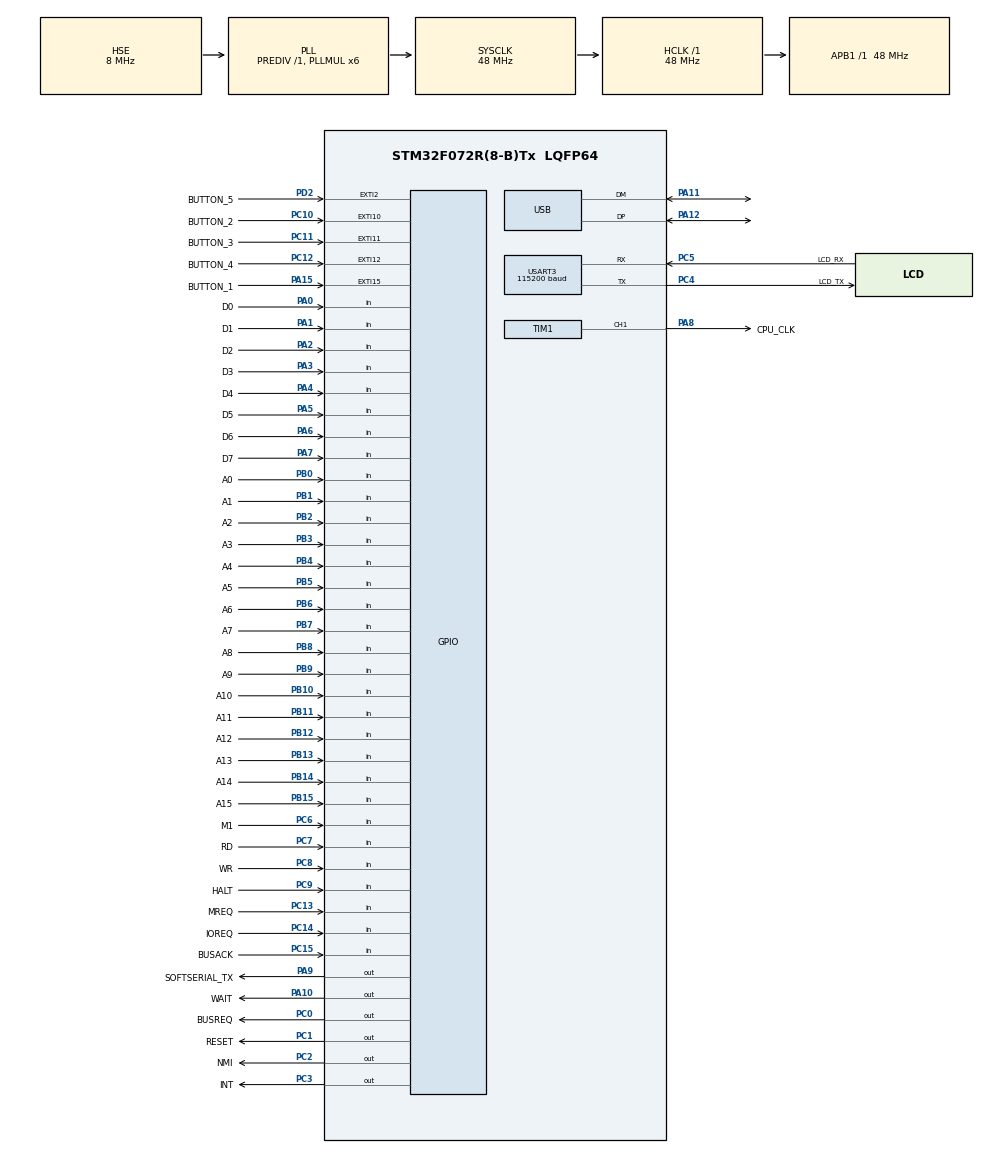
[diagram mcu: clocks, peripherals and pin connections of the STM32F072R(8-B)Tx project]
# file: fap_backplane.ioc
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Mcu.Family=STM32F0
Mcu.Name=STM32F072R(8-B)Tx
Mcu.Package=LQFP64
NVIC.EXTI2_3_IRQn=true\:0\:0\:false\:false\:true
NVIC.EXTI4_15_IRQn=true\:0\:0\:false\:false\:true
NVIC.USB_IRQn=true\:0\:0\:false\:false\:true
PA0.GPIO_Label=D0
PA0.Signal=GPIO_Input
PA1.GPIO_Label=D1
PA1.Signal=GPIO_Input
PA10.GPIO_Label=WAIT
PA10.GPIO_ModeDefaultOutputPP=GPIO_MODE_OUTPUT_OD
PA10.PinState=GPIO_PIN_SET
PA10.Signal=GPIO_Output
PA11.Mode=Device
PA11.Signal=USB_DM
PA12.Mode=Device
PA12.Signal=USB_DP
PA13.Mode=Serial_Wire
PA13.Signal=SYS_SWDIO
PA14.Mode=Serial_Wire
PA14.Signal=SYS_SWCLK
PA15.GPIO_Label=BUTTON_1
PA15.GPIO_ModeDefaultEXTI=GPIO_MODE_IT_FALLING
PA15.GPIO_PuPd=GPIO_PULLUP
PA15.Signal=GPXTI15
PA2.GPIO_Label=D2
PA2.Signal=GPIO_Input
PA3.GPIO_Label=D3
PA3.Signal=GPIO_Input
PA4.GPIO_Label=D4
PA4.Signal=GPIO_Input
PA5.GPIO_Label=D5
PA5.Signal=GPIO_Input
PA6.GPIO_Label=D6
PA6.Signal=GPIO_Input
PA7.GPIO_Label=D7
PA7.Signal=GPIO_Input
PA8.GPIO_Label=CPU_CLK
PA8.Signal=S_TIM1_CH1
PA9.GPIO_Label=SOFTSERIAL_TX
PA9.PinState=GPIO_PIN_SET
PA9.Signal=GPIO_Output
PB0.GPIO_Label=A0
PB0.Signal=GPIO_Input
PB1.GPIO_Label=A1
PB1.Signal=GPIO_Input
PB10.GPIO_Label=A10
PB10.Signal=GPIO_Input
PB11.GPIO_Label=A11
PB11.Signal=GPIO_Input
PB12.GPIO_Label=A12
PB12.Signal=GPIO_Input
PB13.GPIO_Label=A13
PB13.Signal=GPIO_Input
PB14.GPIO_Label=A14
PB14.Signal=GPIO_Input
PB15.GPIO_Label=A15
PB15.Signal=GPIO_Input
PB2.GPIO_Label=A2
PB2.Signal=GPIO_Input
PB3.GPIO_Label=A3
PB3.Signal=GPIO_Input
PB4.GPIO_Label=A4
PB4.Signal=GPIO_Input
PB5.GPIO_Label=A5
PB5.Signal=GPIO_Input
PB6.GPIO_Label=A6
PB6.Signal=GPIO_Input
PB7.GPIO_Label=A7
PB7.Signal=GPIO_Input
PB8.GPIO_Label=A8
PB8.Signal=GPIO_Input
PB9.GPIO_Label=A9
PB9.Signal=GPIO_Input
PC0.GPIO_Label=BUSREQ
PC0.GPIO_ModeDefaultOutputPP=GPIO_MODE_OUTPUT_OD
PC0.PinState=GPIO_PIN_SET
PC0.Signal=GPIO_Output
PC1.GPIO_Label=RESET
PC1.GPIO_ModeDefaultOutputPP=GPIO_MODE_OUTPUT_OD
PC1.PinState=GPIO_PIN_SET
PC1.Signal=GPIO_Output
PC10.GPIO_Label=BUTTON_2
PC10.GPIO_ModeDefaultEXTI=GPIO_MODE_IT_FALLING
PC10.GPIO_PuPd=GPIO_PULLUP
PC10.Signal=GPXTI10
PC11.GPIO_Label=BUTTON_3
PC11.GPIO_ModeDefaultEXTI=GPIO_MODE_IT_FALLING
PC11.GPIO_PuPd=GPIO_PULLUP
PC11.Signal=GPXTI11
PC12.GPIO_Label=BUTTON_4
PC12.GPIO_ModeDefaultEXTI=GPIO_MODE_IT_FALLING
PC12.GPIO_PuPd=GPIO_PULLUP
PC12.Signal=GPXTI12
PC13.GPIO_Label=MREQ
PC13.Signal=GPIO_Input
PC14-OSC32_IN.GPIO_Label=IOREQ
PC14-OSC32_IN.Signal=GPIO_Input
PC15-OSC32_OUT.GPIO_Label=BUSACK
PC15-OSC32_OUT.Signal=GPIO_Input
PC2.GPIO_Label=NMI
PC2.GPIO_ModeDefaultOutputPP=GPIO_MODE_OUTPUT_OD
PC2.PinState=GPIO_PIN_SET
PC2.Signal=GPIO_Output
PC3.GPIO_Label=INT
PC3.GPIO_ModeDefaultOutputPP=GPIO_MODE_OUTPUT_OD
PC3.PinState=GPIO_PIN_SET
PC3.Signal=GPIO_Output
PC4.GPIO_Label=LCD_TX
PC4.Mode=Asynchronous
PC4.Signal=USART3_TX
PC5.GPIO_Label=LCD_RX
PC5.Mode=Asynchronous
PC5.Signal=USART3_RX
PC6.GPIO_Label=M1
PC6.Signal=GPIO_Input
PC7.GPIO_Label=RD
PC7.Signal=GPIO_Input
PC8.GPIO_Label=WR
PC8.Signal=GPIO_Input
PC9.GPIO_Label=HALT
PC9.Signal=GPIO_Input
PD2.GPIO_Label=BUTTON_5
PD2.GPIO_ModeDefaultEXTI=GPIO_MODE_IT_FALLING
PD2.GPIO_PuPd=GPIO_PULLUP
PD2.Signal=GPXTI2
PF0-OSC_IN.Mode=HSE-External-Oscillator
PF0-OSC_IN.Signal=RCC_OSC_IN
PF1-OSC_OUT.Mode=HSE-External-Oscillator
PF1-OSC_OUT.Signal=RCC_OSC_OUT
ProjectManager.HeapSize=0x200
ProjectManager.StackSize=0x400
ProjectManager.TargetToolchain=MDK-ARM V5
RCC.AHBFreq_Value=48000000
RCC.APB1Freq_Value=48000000
RCC.APB1TimFreq_Value=48000000
RCC.HCLKFreq_Value=48000000
RCC.HSIState=RCC_HSI_ON
RCC.INSTRUCTION_CACHE_ENABLE=1
RCC.PLLMUL=RCC_PLL_MUL6
RCC.SYSCLKFreq_VALUE=48000000
RCC.SYSCLKSource=RCC_SYSCLKSOURCE_PLLCLK
RCC.USBClockSelection=RCC_USBCLKSOURCE_PLL
SH.S_TIM1_CH1.0=TIM1_CH1,PWM Generation1 CH1
TIM1.Period=5
TIM1.Prescaler=0
TIM1.Pulse-PWM\ Generation1\ CH1=3
TIM2.Period=4294967295
TIM2.Prescaler=48
USART3.BaudRate=115200
USART3.WordLength=UART_WORDLENGTH_8B
USB.ep0_mps=DEP0CTL_MPS_64
USB_DEVICE.CLASS_NAME_FS=CDC
USB_DEVICE.USBD_HandleTypeDef=hUsbDeviceFS
USB_DEVICE.VirtualMode=Cdc
USB_DEVICE.VirtualModeFS=Cdc_FS
VP_TIM1_VS_ClockSourceINT.Mode=Internal
VP_TIM2_VS_ClockSourceINT.Mode=Internal
VP_USB_DEVICE_VS_USB_DEVICE_CDC_FS.Mode=CDC_FS
board=fap_backplane

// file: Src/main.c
/**
  ******************************************************************************
  * File Name          : main.c
  * Description        : Main program body
  ******************************************************************************
  *
  * Copyright (c) 2016 STMicroelectronics International N.V.
  * All rights reserved.
  *
  * Redistribution and use in source and binary forms, with or without
  * modification, are permitted, provided that the following conditions are met:
  *
  * 1. Redistribution of source code must retain the above copyright notice,
  *    this list of conditions and the following disclaimer.
  * 2. Redistributions in binary form must reproduce the above copyright notice,
  *    this list of conditions and the following disclaimer in the documentation
  *    and/or other materials provided with the distribution.
  * 3. Neither the name of STMicroelectronics nor the names of other
  *    contributors to this software may be used to endorse or promote products
  *    derived from this software without specific written permission.
  * 4. This software, including modifications and/or derivative works of this
  *    software, must execute solely and exclusively on microcontroller or
  *    microprocessor devices manufactured by or for STMicroelectronics.
  * 5. Redistribution and use of this software other than as permitted under
  *    this license is void and will automatically terminate your rights under
  *    this license.
  *
  * THIS SOFTWARE IS PROVIDED BY STMICROELECTRONICS AND CONTRIBUTORS "AS IS"
  * AND ANY EXPRESS, IMPLIED OR STATUTORY WARRANTIES, INCLUDING, BUT NOT
  * LIMITED TO, THE IMPLIED WARRANTIES OF MERCHANTABILITY, FITNESS FOR A
  * PARTICULAR PURPOSE AND NON-INFRINGEMENT OF THIRD PARTY INTELLECTUAL PROPERTY
  * RIGHTS ARE DISCLAIMED TO THE FULLEST EXTENT PERMITTED BY LAW. IN NO EVENT
  * SHALL STMICROELECTRONICS OR CONTRIBUTORS BE LIABLE FOR ANY DIRECT, INDIRECT,
  * INCIDENTAL, SPECIAL, EXEMPLARY, OR CONSEQUENTIAL DAMAGES (INCLUDING, BUT NOT
  * LIMITED TO, PROCUREMENT OF SUBSTITUTE GOODS OR SERVICES; LOSS OF USE, DATA,
  * OR PROFITS; OR BUSINESS INTERRUPTION) HOWEVER CAUSED AND ON ANY THEORY OF
  * LIABILITY, WHETHER IN CONTRACT, STRICT LIABILITY, OR TORT (INCLUDING
  * NEGLIGENCE OR OTHERWISE) ARISING IN ANY WAY OUT OF THE USE OF THIS SOFTWARE,
  * EVEN IF ADVISED OF THE POSSIBILITY OF SUCH DAMAGE.
  *
  ******************************************************************************
  */
#include "main.h"
#include "stm32f0xx_hal.h"
#include "usb_device.h"

/* USER CODE BEGIN Includes */
#include "usbd_cdc_if.h"
#include "delay_us.h"
#include "softserial.h"
#include "hmi_lcd.h"
#include "cpu_ctrl.h"
#include "helpers.h"
#include "my_usb.h"
#include "shared.h"

/* USER CODE END Includes */

TIM_HandleTypeDef htim1;
TIM_HandleTypeDef htim2;

UART_HandleTypeDef huart3;

/* USER CODE BEGIN PV */
/* Private variables ---------------------------------------------------------*/
volatile uint32_t last_press = 0;
volatile int8_t is_button_1_pressed = 0;
volatile int8_t is_button_2_pressed = 0;
volatile int8_t is_button_3_pressed = 0;
volatile int8_t is_button_4_pressed = 0;
volatile int8_t is_button_5_pressed = 0;
uint16_t curr_addr = 0;
uint8_t curr_data = 0;
uint16_t prev_addr = 69;
uint8_t prev_data = 69;

uint8_t is_running = 0;
/* USER CODE END PV */

void SystemClock_Config(void);
void Error_Handler(void);
static void MX_GPIO_Init(void);
static void MX_TIM1_Init(void);
static void MX_USART3_UART_Init(void);
static void MX_TIM2_Init(void);
void HAL_TIM_MspPostInit(TIM_HandleTypeDef *htim);

/* USER CODE BEGIN PFP */
/* Private function prototypes -----------------------------------------------*/

/* USER CODE END PFP */

/* USER CODE BEGIN 0 */
int fputc(int ch, FILE *f)
{
  // softserial_sendchar(ch);
  my_usb_putchar((uint8_t)ch);
  return ch;
}
/* USER CODE END 0 */

int main(void)
{

  /* USER CODE BEGIN 1 */
  my_usb_init();
  /* USER CODE END 1 */

  /* MCU Configuration----------------------------------------------------------*/

  /* Reset of all peripherals, Initializes the Flash interface and the Systick. */
  HAL_Init();

  /* Configure the system clock */
  SystemClock_Config();

  /* Initialize all configured peripherals */
  MX_GPIO_Init();
  MX_TIM1_Init();
  MX_USB_DEVICE_Init();
  MX_USART3_UART_Init();
  MX_TIM2_Init();

  /* USER CODE BEGIN 2 */
  HAL_TIM_Base_Start(&htim2);
  delay_us_init(&htim2);
  softserial_init(SOFTSERIAL_TX_GPIO_Port, SOFTSERIAL_TX_Pin);
  hmi_lcd_init(&huart3);
  cpu_ctrl_init(&htim1);
  /* USER CODE END 2 */

  /* Infinite loop */
  /* USER CODE BEGIN WHILE */
  HAL_Delay(100);
  hsc_stop();
  cpu_reset();
  lcd_clear();
  addr_input();
  data_input();
  build_ui();
  HAL_Delay(100);

  while (1)
  {
  /* USER CODE END WHILE */

  /* USER CODE BEGIN 3 */
    if(is_running == 0)
      addr_data_display_update();

    // z80 reset button
    if(is_button_1_pressed)
    {
      hsc_stop();
      cpu_reset();
      lcd_print_width(130, 110, 180, 45, "CYAN", "RESET");
      is_button_1_pressed = 0;
      HAL_Delay(500);
      build_ui();
    }

    // clk step button
    if(is_button_3_pressed)
    {
      hsc_stop();
      cycle_clock(1);
      lcd_print_width(130, 110, 180, 45, "RED", "CLK STEP");
      is_button_3_pressed = 0;
      HAL_Delay(100);
      build_ui();
    }

    // ins step button
    if(is_button_4_pressed)
    {
      hsc_stop();
      lcd_print_width(130, 110, 180, 45, "GREEN", "INS STEP");
      // cycle clock until we're at next M1 cycle
      while(HAL_GPIO_ReadPin(CPU_CTRL_PORT, M1_Pin) == LOW)
        cycle_clock(1);
      while(HAL_GPIO_ReadPin(CPU_CTRL_PORT, M1_Pin) == HIGH)
        cycle_clock(1);
      is_button_4_pressed = 0;
      HAL_Delay(100);
      build_ui();
    }

    // run/stop button
    if(is_button_5_pressed)
    {
      is_running = (is_running + 1) % 2;
      if(is_running)
      {
        lcd_print_width(130, 110, 180, 45, "GREEN", "RUNNING");
        hsc_start();
      }
      else
      {
        hsc_stop();
        build_ui();
      }
      is_button_5_pressed = 0;
    }

    usb_data = my_usb_readline();
    if(usb_data != NULL && strstr(usb_data, "epm") != NULL)
    {
      hsc_stop();
      program_mode();
      build_ui();
    }
  }
  /* USER CODE END 3 */

}

/** System Clock Configuration
*/
void SystemClock_Config(void)
{

  RCC_OscInitTypeDef RCC_OscInitStruct;
  RCC_ClkInitTypeDef RCC_ClkInitStruct;
  RCC_PeriphCLKInitTypeDef PeriphClkInit;

    /**Initializes the CPU, AHB and APB busses clocks
    */
  RCC_OscInitStruct.OscillatorType = RCC_OSCILLATORTYPE_HSE;
  RCC_OscInitStruct.HSEState = RCC_HSE_ON;
  RCC_OscInitStruct.HSIState = RCC_HSI_ON;
  RCC_OscInitStruct.PLL.PLLState = RCC_PLL_ON;
  RCC_OscInitStruct.PLL.PLLSource = RCC_PLLSOURCE_HSE;
  RCC_OscInitStruct.PLL.PLLMUL = RCC_PLL_MUL6;
  RCC_OscInitStruct.PLL.PREDIV = RCC_PREDIV_DIV1;
  if (HAL_RCC_OscConfig(&RCC_OscInitStruct) != HAL_OK)
  {
    Error_Handler();
  }

    /**Initializes the CPU, AHB and APB busses clocks
    */
  RCC_ClkInitStruct.ClockType = RCC_CLOCKTYPE_HCLK|RCC_CLOCKTYPE_SYSCLK
                              |RCC_CLOCKTYPE_PCLK1;
  RCC_ClkInitStruct.SYSCLKSource = RCC_SYSCLKSOURCE_PLLCLK;
  RCC_ClkInitStruct.AHBCLKDivider = RCC_SYSCLK_DIV1;
  RCC_ClkInitStruct.APB1CLKDivider = RCC_HCLK_DIV1;

  if (HAL_RCC_ClockConfig(&RCC_ClkInitStruct, FLASH_LATENCY_1) != HAL_OK)
  {
    Error_Handler();
  }

  PeriphClkInit.PeriphClockSelection = RCC_PERIPHCLK_USB;
  PeriphClkInit.UsbClockSelection = RCC_USBCLKSOURCE_PLL;

  if (HAL_RCCEx_PeriphCLKConfig(&PeriphClkInit) != HAL_OK)
  {
    Error_Handler();
  }

    /**Configure the Systick interrupt time
    */
  HAL_SYSTICK_Config(HAL_RCC_GetHCLKFreq()/1000);

    /**Configure the Systick
    */
  HAL_SYSTICK_CLKSourceConfig(SYSTICK_CLKSOURCE_HCLK);

  /* SysTick_IRQn interrupt configuration */
  HAL_NVIC_SetPriority(SysTick_IRQn, 0, 0);
}

/* TIM1 init function */
static void MX_TIM1_Init(void)
{

  TIM_ClockConfigTypeDef sClockSourceConfig;
  TIM_MasterConfigTypeDef sMasterConfig;
  TIM_OC_InitTypeDef sConfigOC;
  TIM_BreakDeadTimeConfigTypeDef sBreakDeadTimeConfig;

  htim1.Instance = TIM1;
  htim1.Init.Prescaler = 0;
  htim1.Init.CounterMode = TIM_COUNTERMODE_UP;
  htim1.Init.Period = 5;
  htim1.Init.ClockDivision = TIM_CLOCKDIVISION_DIV1;
  htim1.Init.RepetitionCounter = 0;
  htim1.Init.AutoReloadPreload = TIM_AUTORELOAD_PRELOAD_DISABLE;
  if (HAL_TIM_Base_Init(&htim1) != HAL_OK)
  {
    Error_Handler();
  }

  sClockSourceConfig.ClockSource = TIM_CLOCKSOURCE_INTERNAL;
  if (HAL_TIM_ConfigClockSource(&htim1, &sClockSourceConfig) != HAL_OK)
  {
    Error_Handler();
  }

  if (HAL_TIM_PWM_Init(&htim1) != HAL_OK)
  {
    Error_Handler();
  }

  sMasterConfig.MasterOutputTrigger = TIM_TRGO_RESET;
  sMasterConfig.MasterSlaveMode = TIM_MASTERSLAVEMODE_DISABLE;
  if (HAL_TIMEx_MasterConfigSynchronization(&htim1, &sMasterConfig) != HAL_OK)
  {
    Error_Handler();
  }

  sConfigOC.OCMode = TIM_OCMODE_PWM1;
  sConfigOC.Pulse = 3;
  sConfigOC.OCPolarity = TIM_OCPOLARITY_HIGH;
  sConfigOC.OCNPolarity = TIM_OCNPOLARITY_HIGH;
  sConfigOC.OCFastMode = TIM_OCFAST_DISABLE;
  sConfigOC.OCIdleState = TIM_OCIDLESTATE_RESET;
  sConfigOC.OCNIdleState = TIM_OCNIDLESTATE_RESET;
  if (HAL_TIM_PWM_ConfigChannel(&htim1, &sConfigOC, TIM_CHANNEL_1) != HAL_OK)
  {
    Error_Handler();
  }

  sBreakDeadTimeConfig.OffStateRunMode = TIM_OSSR_DISABLE;
  sBreakDeadTimeConfig.OffStateIDLEMode = TIM_OSSI_DISABLE;
  sBreakDeadTimeConfig.LockLevel = TIM_LOCKLEVEL_OFF;
  sBreakDeadTimeConfig.DeadTime = 0;
  sBreakDeadTimeConfig.BreakState = TIM_BREAK_DISABLE;
  sBreakDeadTimeConfig.BreakPolarity = TIM_BREAKPOLARITY_HIGH;
  sBreakDeadTimeConfig.AutomaticOutput = TIM_AUTOMATICOUTPUT_DISABLE;
  if (HAL_TIMEx_ConfigBreakDeadTime(&htim1, &sBreakDeadTimeConfig) != HAL_OK)
  {
    Error_Handler();
  }

  HAL_TIM_MspPostInit(&htim1);

}

/* TIM2 init function */
static void MX_TIM2_Init(void)
{

  TIM_ClockConfigTypeDef sClockSourceConfig;
  TIM_MasterConfigTypeDef sMasterConfig;

  htim2.Instance = TIM2;
  htim2.Init.Prescaler = 48;
  htim2.Init.CounterMode = TIM_COUNTERMODE_UP;
  htim2.Init.Period = 4294967295;
  htim2.Init.ClockDivision = TIM_CLOCKDIVISION_DIV1;
  htim2.Init.AutoReloadPreload = TIM_AUTORELOAD_PRELOAD_DISABLE;
  if (HAL_TIM_Base_Init(&htim2) != HAL_OK)
  {
    Error_Handler();
  }

  sClockSourceConfig.ClockSource = TIM_CLOCKSOURCE_INTERNAL;
  if (HAL_TIM_ConfigClockSource(&htim2, &sClockSourceConfig) != HAL_OK)
  {
    Error_Handler();
  }

  sMasterConfig.MasterOutputTrigger = TIM_TRGO_RESET;
  sMasterConfig.MasterSlaveMode = TIM_MASTERSLAVEMODE_DISABLE;
  if (HAL_TIMEx_MasterConfigSynchronization(&htim2, &sMasterConfig) != HAL_OK)
  {
    Error_Handler();
  }

}

/* USART3 init function */
static void MX_USART3_UART_Init(void)
{

  huart3.Instance = USART3;
  huart3.Init.BaudRate = 115200;
  huart3.Init.WordLength = UART_WORDLENGTH_8B;
  huart3.Init.StopBits = UART_STOPBITS_1;
  huart3.Init.Parity = UART_PARITY_NONE;
  huart3.Init.Mode = UART_MODE_TX_RX;
  huart3.Init.HwFlowCtl = UART_HWCONTROL_NONE;
  huart3.Init.OverSampling = UART_OVERSAMPLING_16;
  huart3.Init.OneBitSampling = UART_ONE_BIT_SAMPLE_DISABLE;
  huart3.AdvancedInit.AdvFeatureInit = UART_ADVFEATURE_NO_INIT;
  if (HAL_UART_Init(&huart3) != HAL_OK)
  {
    Error_Handler();
  }

}

/** Configure pins as
        * Analog
        * Input
        * Output
        * EVENT_OUT
        * EXTI
*/
static void MX_GPIO_Init(void)
{

  GPIO_InitTypeDef GPIO_InitStruct;

  /* GPIO Ports Clock Enable */
  __HAL_RCC_GPIOC_CLK_ENABLE();
  __HAL_RCC_GPIOF_CLK_ENABLE();
  __HAL_RCC_GPIOA_CLK_ENABLE();
  __HAL_RCC_GPIOB_CLK_ENABLE();
  __HAL_RCC_GPIOD_CLK_ENABLE();

  /*Configure GPIO pins : MREQ_Pin IOREQ_Pin BUSACK_Pin M1_Pin
                           RD_Pin WR_Pin HALT_Pin */
  GPIO_InitStruct.Pin = MREQ_Pin|IOREQ_Pin|BUSACK_Pin|M1_Pin
                          |RD_Pin|WR_Pin|HALT_Pin;
  GPIO_InitStruct.Mode = GPIO_MODE_INPUT;
  GPIO_InitStruct.Pull = GPIO_NOPULL;
  HAL_GPIO_Init(GPIOC, &GPIO_InitStruct);

  /*Configure GPIO pins : BUSREQ_Pin RESET_Pin NMI_Pin INT_Pin */
  GPIO_InitStruct.Pin = BUSREQ_Pin|RESET_Pin|NMI_Pin|INT_Pin;
  GPIO_InitStruct.Mode = GPIO_MODE_OUTPUT_OD;
  GPIO_InitStruct.Pull = GPIO_NOPULL;
  GPIO_InitStruct.Speed = GPIO_SPEED_FREQ_LOW;
  HAL_GPIO_Init(GPIOC, &GPIO_InitStruct);

  /*Configure GPIO pins : D0_Pin D1_Pin D2_Pin D3_Pin
                           D4_Pin D5_Pin D6_Pin D7_Pin */
  GPIO_InitStruct.Pin = D0_Pin|D1_Pin|D2_Pin|D3_Pin
                          |D4_Pin|D5_Pin|D6_Pin|D7_Pin;
  GPIO_InitStruct.Mode = GPIO_MODE_INPUT;
  GPIO_InitStruct.Pull = GPIO_NOPULL;
  HAL_GPIO_Init(GPIOA, &GPIO_InitStruct);

  /*Configure GPIO pins : A0_Pin A1_Pin A2_Pin A10_Pin
                           A11_Pin A12_Pin A13_Pin A14_Pin
                           A15_Pin A3_Pin A4_Pin A5_Pin
                           A6_Pin A7_Pin A8_Pin A9_Pin */
  GPIO_InitStruct.Pin = A0_Pin|A1_Pin|A2_Pin|A10_Pin
                          |A11_Pin|A12_Pin|A13_Pin|A14_Pin
                          |A15_Pin|A3_Pin|A4_Pin|A5_Pin
                          |A6_Pin|A7_Pin|A8_Pin|A9_Pin;
  GPIO_InitStruct.Mode = GPIO_MODE_INPUT;
  GPIO_InitStruct.Pull = GPIO_NOPULL;
  HAL_GPIO_Init(GPIOB, &GPIO_InitStruct);

  /*Configure GPIO pin : SOFTSERIAL_TX_Pin */
  GPIO_InitStruct.Pin = SOFTSERIAL_TX_Pin;
  GPIO_InitStruct.Mode = GPIO_MODE_OUTPUT_PP;
  GPIO_InitStruct.Pull = GPIO_NOPULL;
  GPIO_InitStruct.Speed = GPIO_SPEED_FREQ_LOW;
  HAL_GPIO_Init(SOFTSERIAL_TX_GPIO_Port, &GPIO_InitStruct);

  /*Configure GPIO pin : WAIT_Pin */
  GPIO_InitStruct.Pin = WAIT_Pin;
  GPIO_InitStruct.Mode = GPIO_MODE_OUTPUT_OD;
  GPIO_InitStruct.Pull = GPIO_NOPULL;
  GPIO_InitStruct.Speed = GPIO_SPEED_FREQ_LOW;
  HAL_GPIO_Init(WAIT_GPIO_Port, &GPIO_InitStruct);

  /*Configure GPIO pin : BUTTON_1_Pin */
  GPIO_InitStruct.Pin = BUTTON_1_Pin;
  GPIO_InitStruct.Mode = GPIO_MODE_IT_FALLING;
  GPIO_InitStruct.Pull = GPIO_PULLUP;
  HAL_GPIO_Init(BUTTON_1_GPIO_Port, &GPIO_InitStruct);

  /*Configure GPIO pins : BUTTON_2_Pin BUTTON_3_Pin BUTTON_4_Pin */
  GPIO_InitStruct.Pin = BUTTON_2_Pin|BUTTON_3_Pin|BUTTON_4_Pin;
  GPIO_InitStruct.Mode = GPIO_MODE_IT_FALLING;
  GPIO_InitStruct.Pull = GPIO_PULLUP;
  HAL_GPIO_Init(GPIOC, &GPIO_InitStruct);

  /*Configure GPIO pin : BUTTON_5_Pin */
  GPIO_InitStruct.Pin = BUTTON_5_Pin;
  GPIO_InitStruct.Mode = GPIO_MODE_IT_FALLING;
  GPIO_InitStruct.Pull = GPIO_PULLUP;
  HAL_GPIO_Init(BUTTON_5_GPIO_Port, &GPIO_InitStruct);

  /*Configure GPIO pin Output Level */
  HAL_GPIO_WritePin(GPIOC, BUSREQ_Pin|RESET_Pin|NMI_Pin|INT_Pin, GPIO_PIN_SET);

  /*Configure GPIO pin Output Level */
  HAL_GPIO_WritePin(GPIOA, SOFTSERIAL_TX_Pin|WAIT_Pin, GPIO_PIN_SET);

  /* EXTI interrupt init*/
  HAL_NVIC_SetPriority(EXTI2_3_IRQn, 0, 0);
  HAL_NVIC_EnableIRQ(EXTI2_3_IRQn);

  HAL_NVIC_SetPriority(EXTI4_15_IRQn, 0, 0);
  HAL_NVIC_EnableIRQ(EXTI4_15_IRQn);

}

/* USER CODE BEGIN 4 */

// external interrupt ISR
void HAL_GPIO_EXTI_Callback(uint16_t GPIO_Pin)
{
  // simple debounce
  uint32_t now = HAL_GetTick();
  if(now - last_press < 333)
    return;

  last_press = now;
  if(GPIO_Pin == BUTTON_1_Pin)
    is_button_1_pressed = 1;
  else if(GPIO_Pin == BUTTON_2_Pin)
    is_button_2_pressed = 1;
  else if(GPIO_Pin == BUTTON_3_Pin)
    is_button_3_pressed = 1;
  else if(GPIO_Pin == BUTTON_4_Pin)
    is_button_4_pressed = 1;
  else if(GPIO_Pin == BUTTON_5_Pin)
    is_button_5_pressed = 1;
}

/* USER CODE END 4 */

void Error_Handler(void)
{
  while(1)
  {
  }
}

/************************ (C) COPYRIGHT STMicroelectronics *****END OF FILE****/
